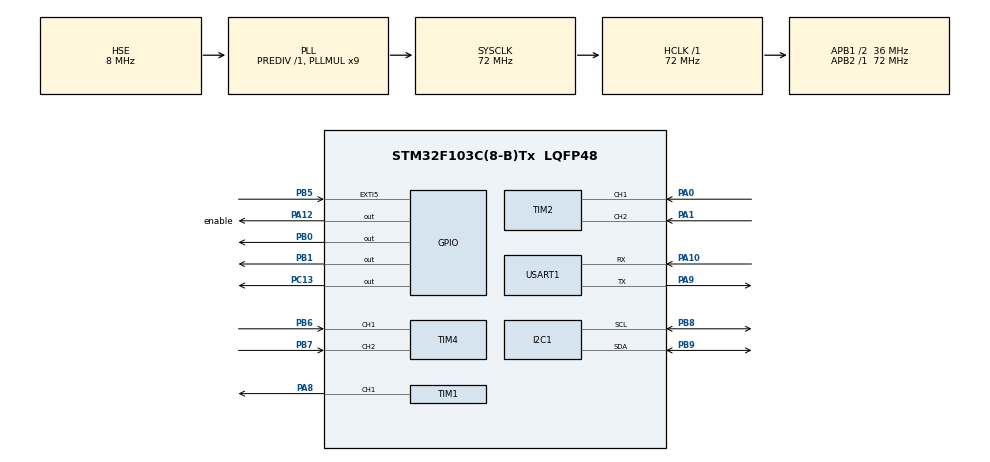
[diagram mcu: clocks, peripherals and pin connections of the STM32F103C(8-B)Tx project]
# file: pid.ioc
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Mcu.Family=STM32F1
Mcu.Name=STM32F103C(8-B)Tx
Mcu.Package=LQFP48
NVIC.EXTI9_5_IRQn=true\:2\:0\:true\:false\:true\:true\:true\:true
NVIC.PriorityGroup=NVIC_PRIORITYGROUP_4
NVIC.TIM3_IRQn=true\:0\:0\:false\:false\:true\:true\:true\:true
NVIC.USART1_IRQn=true\:0\:0\:false\:false\:true\:true\:true\:true
PA0-WKUP.Signal=S_TIM2_CH1_ETR
PA1.Signal=S_TIM2_CH2
PA10.Mode=Asynchronous
PA10.Signal=USART1_RX
PA12.GPIO_Label=enable
PA12.PinState=GPIO_PIN_SET
PA12.Signal=GPIO_Output
PA13.Mode=Serial_Wire
PA13.Signal=SYS_JTMS-SWDIO
PA14.Mode=Serial_Wire
PA14.Signal=SYS_JTCK-SWCLK
PA8.Signal=S_TIM1_CH1
PA9.Mode=Asynchronous
PA9.Signal=USART1_TX
PB0.PinState=GPIO_PIN_RESET
PB0.Signal=GPIO_Output
PB1.PinState=GPIO_PIN_SET
PB1.Signal=GPIO_Output
PB5.GPIO_PuPd=GPIO_PULLUP
PB5.Signal=GPXTI5
PB6.GPIO_PuPd=GPIO_PULLUP
PB6.Signal=S_TIM4_CH1
PB7.GPIO_PuPd=GPIO_PULLUP
PB7.Signal=S_TIM4_CH2
PB8.Mode=I2C
PB8.Signal=I2C1_SCL
PB9.Mode=I2C
PB9.Signal=I2C1_SDA
PC13-TAMPER-RTC.Signal=GPIO_Output
PD0-OSC_IN.Mode=HSE-External-Oscillator
PD0-OSC_IN.Signal=RCC_OSC_IN
PD1-OSC_OUT.Mode=HSE-External-Oscillator
PD1-OSC_OUT.Signal=RCC_OSC_OUT
ProjectManager.HeapSize=0x200
ProjectManager.StackSize=0x400
ProjectManager.TargetToolchain=MDK-ARM V5.32
RCC.AHBFreq_Value=72000000
RCC.APB1CLKDivider=RCC_HCLK_DIV2
RCC.APB1Freq_Value=36000000
RCC.APB1TimFreq_Value=72000000
RCC.APB2Freq_Value=72000000
RCC.APB2TimFreq_Value=72000000
RCC.HCLKFreq_Value=72000000
RCC.PLLMUL=RCC_PLL_MUL9
RCC.PLLSourceVirtual=RCC_PLLSOURCE_HSE
RCC.SYSCLKFreq_VALUE=72000000
RCC.SYSCLKSource=RCC_SYSCLKSOURCE_PLLCLK
RCC.USBFreq_Value=72000000
SH.S_TIM1_CH1.0=TIM1_CH1,PWM Generation1 CH1
SH.S_TIM2_CH1_ETR.0=TIM2_CH1,Encoder_Interface
SH.S_TIM2_CH2.0=TIM2_CH2,Encoder_Interface
SH.S_TIM4_CH1.0=TIM4_CH1,Encoder_Interface
SH.S_TIM4_CH2.0=TIM4_CH2,Encoder_Interface
TIM1.Channel-PWM\ Generation1\ CH1=TIM_CHANNEL_1
TIM1.Period=99
TIM1.Prescaler=71
TIM2.EncoderMode=TIM_ENCODERMODE_TI12
TIM3.Period=99
TIM3.Prescaler=7199
TIM4.EncoderMode=TIM_ENCODERMODE_TI12
USART1.VirtualMode=VM_ASYNC
VP_TIM1_VS_ClockSourceINT.Mode=Internal
VP_TIM3_VS_ClockSourceINT.Mode=Internal
board=custom

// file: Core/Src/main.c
/* USER CODE BEGIN Header */
/**
  ******************************************************************************
  * @file           : main.c
  * @brief          : Main program body
  ******************************************************************************
  * @attention
  *
  * Copyright (c) 2026 STMicroelectronics.
  * All rights reserved.
  *
  * This software is licensed under terms that can be found in the LICENSE file
  * in the root directory of this software component.
  * If no LICENSE file comes with this software, it is provided AS-IS.
  *
  ******************************************************************************
  */
/* USER CODE END Header */
#include "main.h"
#include "i2c.h"
#include "tim.h"
#include "usart.h"
#include "gpio.h"

/* USER CODE BEGIN Includes */
#include <stdio.h>
#define pwm_ 350
#define time_ 8
/* USER CODE END Includes */

/* USER CODE BEGIN PD */
extern int16_t encoder_cnt;
/* USER CODE END PD */

/* USER CODE BEGIN PV */

 float kp_p=-0.05;
 float ki_p=0;
 float kd_p=-0.8;
 float outmax=100;
 float outmin=-100;
 uint16_t count=0;
 float error_p=0;
 float target_p=0;
 float position=0;
 float sum_p=0;
 float error_p0=0;

 uint32_t time=0;
 uint32_t counttime=10;

 float kp_a=0.7;
 float ki_a=0;
 float kd_a=1;
 float target_ang=2010;
 float error0a=0.0f;
 float error0b=0.0f;
 float suma=0.0f;
 float kp=10;
 float ki=1;
 float kd=5;
 float error0=0.0f;
 float current=0.0f;
 float target=0.0f;
 float targetold=0.0f;
 float output=0.0f;
 float error1=0.0f;
 float sum=0.0f;
 float pwm=0.0f;
 int16_t encoder_cnt = 0;
 int16_t encoder_position = 0;
 int16_t encoder_position1 = 0;
 int16_t encoder_position2 = 0;
 int16_t angle=0;
 uint8_t Z_Phase_Trigger=0;
 uint8_t yes=0;
 uint8_t flag=0;

/* USER CODE END PV */

void SystemClock_Config(void);
/* USER CODE BEGIN PFP */
//float pidcon(PID_Handle *pid, float actual);

/* USER CODE END PFP */

/* USER CODE BEGIN 0 */
int fputc(int ch, FILE *f)
{
  // 发�?�一个字节数据到串口USART1
  HAL_UART_Transmit(&huart1, (uint8_t *)&ch, 1, 0xFFFF);  // 0xFFFF是超时时间，避免阻塞
  return ch;
}

/* USER CODE END 0 */

int main(void)
{

  /* MCU Configuration--------------------------------------------------------*/

  /* Reset of all peripherals, Initializes the Flash interface and the Systick. */
  HAL_Init();

  /* Configure the system clock */
  SystemClock_Config();

  /* Initialize all configured peripherals */
  MX_GPIO_Init();
  MX_I2C1_Init();
  MX_TIM1_Init();
  MX_TIM2_Init();
  MX_TIM3_Init();
  MX_USART1_UART_Init();
  MX_TIM4_Init();
  /* USER CODE BEGIN 2 */
 HAL_TIM_PWM_Start(&htim1, TIM_CHANNEL_1);
 HAL_TIM_Encoder_Start(&htim2, TIM_CHANNEL_ALL);
 HAL_TIM_Base_Start_IT(&htim3);
 HAL_TIM_Encoder_Start(&htim4, TIM_CHANNEL_ALL);
  /* USER CODE END 2 */

  /* Infinite loop */
  while (1)
  {

  }
}

void SystemClock_Config(void)
{
  RCC_OscInitTypeDef RCC_OscInitStruct = {0};
  RCC_ClkInitTypeDef RCC_ClkInitStruct = {0};

  /** Initializes the RCC Oscillators according to the specified parameters
  * in the RCC_OscInitTypeDef structure.
  */
  RCC_OscInitStruct.OscillatorType = RCC_OSCILLATORTYPE_HSE;
  RCC_OscInitStruct.HSEState = RCC_HSE_ON;
  RCC_OscInitStruct.HSEPredivValue = RCC_HSE_PREDIV_DIV1;
  RCC_OscInitStruct.HSIState = RCC_HSI_ON;
  RCC_OscInitStruct.PLL.PLLState = RCC_PLL_ON;
  RCC_OscInitStruct.PLL.PLLSource = RCC_PLLSOURCE_HSE;
  RCC_OscInitStruct.PLL.PLLMUL = RCC_PLL_MUL9;
  if (HAL_RCC_OscConfig(&RCC_OscInitStruct) != HAL_OK)
  {
    Error_Handler();
  }

  /** Initializes the CPU, AHB and APB buses clocks
  */
  RCC_ClkInitStruct.ClockType = RCC_CLOCKTYPE_HCLK|RCC_CLOCKTYPE_SYSCLK
                              |RCC_CLOCKTYPE_PCLK1|RCC_CLOCKTYPE_PCLK2;
  RCC_ClkInitStruct.SYSCLKSource = RCC_SYSCLKSOURCE_PLLCLK;
  RCC_ClkInitStruct.AHBCLKDivider = RCC_SYSCLK_DIV1;
  RCC_ClkInitStruct.APB1CLKDivider = RCC_HCLK_DIV2;
  RCC_ClkInitStruct.APB2CLKDivider = RCC_HCLK_DIV1;

  if (HAL_RCC_ClockConfig(&RCC_ClkInitStruct, FLASH_LATENCY_2) != HAL_OK)
  {
    Error_Handler();
  }
}

/* USER CODE BEGIN 4 */
void HAL_GPIO_EXTI_Callback(uint16_t GPIO_Pin)
{
  if(GPIO_Pin == GPIO_PIN_5) // 检测PB8（Z相）中断
  {
    // 消抖（避免机械抖动误触发）

      Z_Phase_Trigger = 1; // 置位零位触发标志
  }
}
void HAL_TIM_PeriodElapsedCallback(TIM_HandleTypeDef *htim){
	if(htim->Instance==TIM3){
		if(yes==1){
			HAL_GPIO_WritePin(GPIOC, GPIO_PIN_13, GPIO_PIN_SET);
			encoder_cnt = (int16_t)__HAL_TIM_GET_COUNTER(&htim2);
			position +=encoder_cnt ;
			__HAL_TIM_SET_COUNTER(&htim2, 0);
			count++;
			if(count>10){
				count=0;
				error_p0 =error_p;
				error_p=position-target_p ;
				sum_p+=error_p ;

			if(sum_p > 200) sum_p = 200;
			if(sum_p < -200) sum_p = -200;

			float delta_ang = kp_p * error_p + ki_p * sum_p + kd_p*(error_p - error_p0);
//			if(delta_ang > 50) delta_ang = 50;
//      if(delta_ang < -50) delta_ang = -50;

			target_ang=delta_ang+2010;

			}
		encoder_position = (int16_t)__HAL_TIM_GET_COUNTER(&htim4);
		angle+=encoder_position;
		__HAL_TIM_SET_COUNTER(&htim4, 0);
//		if(Z_Phase_Trigger==1){
//		angle=0;
//	  Z_Phase_Trigger=0;}

		targetold=target;

		error0b=error0a;
		error0a=target_ang-angle;
		if(error0a<3&&error0a>-3)//小角度
		error0a=0;
		suma+=error0a;
		if(suma > 2000) suma = 2000;
    if(suma < -2000) suma = -2000;
		if(target>0&&targetold<0)
			suma=0;
		if(target<0&&targetold>0)
			suma=0;

		target=kp_a*error0a+ki_a*suma+kd_a*(error0a-error0b);

		//速度环控�?
		//�?要写�?个if使积分项清零，不过在未接入角度传感器以前先不�?
//
		current = (-encoder_cnt*60.0) / (44 * 30.0f * 0.01f);
			if((target>0&&targetold<0)||(target<0&&targetold>0))
				sum=0;//让积分项归零
		error1=error0;
		error0=target-current;
		sum+=error0;
		output=kp*error0+ki*sum+kd*(error0-error1);

		if(sum > 1000) sum = 1000;
    if(sum < -1000) sum = -1000;
		if (output>1000) output = 1000;
		if (output<-1000) output = -1000;
    if (output<0){
			pwm=-output;
		HAL_GPIO_WritePin(GPIOB, GPIO_PIN_0, GPIO_PIN_SET);
    HAL_GPIO_WritePin(GPIOB, GPIO_PIN_1, GPIO_PIN_RESET);
		}else{
			pwm=output;
			HAL_GPIO_WritePin(GPIOB, GPIO_PIN_0, GPIO_PIN_RESET);
      HAL_GPIO_WritePin(GPIOB, GPIO_PIN_1, GPIO_PIN_SET);
		}
   __HAL_TIM_SET_COMPARE(&htim1,TIM_CHANNEL_1 , (uint16_t)pwm);
//
	 printf("%d,%.2f,%.2f,%.2f,%d,%d,%f,%f\r\n",
               encoder_cnt,       // 编码�?10ms计数
               current,           // 当前转�?�（rpm�?
               error0,            // 目标-实际误差
               output,            // PID原始输出
               (uint16_t)output,
		           angle,
							 target,
		           position
		);
		if(error0a>800||error0a<-800){
			HAL_TIM_PWM_Stop(&htim1, TIM_CHANNEL_1);
			HAL_GPIO_WritePin(GPIOC, GPIO_PIN_13, GPIO_PIN_RESET);

		}

	}
		////
	//////
		if(yes==0){
		   if(flag==0){
			 __HAL_TIM_SET_COMPARE(&htim1,TIM_CHANNEL_1 ,pwm_ );

			 flag=1;
			 }
		  encoder_position2=encoder_position1;
		  encoder_position1=encoder_position;
			encoder_position = (int16_t)__HAL_TIM_GET_COUNTER(&htim4);
		  angle+=encoder_position;
		  __HAL_TIM_SET_COUNTER(&htim4, 0);

			 if(angle-target_ang<250&&angle-target_ang>-250){
				 yes=1;
				   __HAL_TIM_SET_COUNTER(&htim2, 0);
					encoder_cnt = 0;
				sum_p = 0.0f;   // 位置环积分项清零（最关键）
				error_p = 0.0f; // 位置环误差清零
				error_p0 = 0.0f;// 位置环上一次误差清零
				count = 0;      // 位置环计数器重置，重新计时100ms
				// 角度环变量（清零积分+误差，解决角度环输出异常）
				suma = 0.0f;    // 角度环积分项清零
				error0a = 0.0f; // 角度环当前误差清零
				error0b = 0.0f; // 角度环上一次误差清零
				// 速度环变量（清零积分+误差，解决速度骤增）
				sum = 0.0f;     // 速度环积分项清零
				error0 = 0.0f;  // 速度环当前误差清零
				error1 = 0.0f;  // 速度环上一次误差清零
				// 转向目标变量（清零，保证积分清零逻辑正常触发）
				targetold = 0.0f;
				target = 0.0f;  // 速度环目标转速清零，从0开始加速

		 }
			 if(angle+target_ang<250&&angle+target_ang>-250){
				 yes=1;
				angle=target_ang+angle+target_ang ;
				 __HAL_TIM_SET_COUNTER(&htim2, 0);
				encoder_cnt = 0;
				sum_p = 0.0f;
				error_p = 0.0f;
				error_p0 = 0.0f;
				count = 0;
				suma = 0.0f;
				error0a = 0.0f;
				error0b = 0.0f;
				sum = 0.0f;
				error0 = 0.0f;
				error1 = 0.0f;
				targetold = 0.0f;
				target = 0.0f;

		 }

		 //
		 if(flag==1){
			 counttime--;
			 if(counttime==0){
				 counttime=time_;
				 flag=2;}}
		 //
		 if(flag==2){

			 __HAL_TIM_SET_COMPARE(&htim1,TIM_CHANNEL_1 ,0);
		 if(encoder_position2<0&&encoder_position>0){
			 flag=4;
		 }
		if(encoder_position2>0&&encoder_position<0){
			flag=3;
		}

		 }
		 //
		 if(flag==3){
			 HAL_GPIO_WritePin(GPIOB, GPIO_PIN_0, GPIO_PIN_SET);
       HAL_GPIO_WritePin(GPIOB, GPIO_PIN_1, GPIO_PIN_RESET);
			 __HAL_TIM_SET_COMPARE(&htim1,TIM_CHANNEL_1 ,pwm_);
			 flag=31;
		 }
		 if(flag==31){
			 counttime--;
			 if(counttime==0){
				 counttime=time_ ;
				 flag=2;}}
			 if(flag==32){

			 HAL_GPIO_WritePin(GPIOB, GPIO_PIN_0, GPIO_PIN_RESET);
       HAL_GPIO_WritePin(GPIOB, GPIO_PIN_1, GPIO_PIN_SET);
			 __HAL_TIM_SET_COMPARE(&htim1,TIM_CHANNEL_1 ,pwm_);
			 flag=33;
			 }
		   if(flag==33){
			 counttime--;
			 if(counttime==0){
				 counttime=time_;
				 flag=2;}}
		 if(flag==4){
			  HAL_GPIO_WritePin(GPIOB, GPIO_PIN_0, GPIO_PIN_RESET);
       HAL_GPIO_WritePin(GPIOB, GPIO_PIN_1, GPIO_PIN_SET);
			 __HAL_TIM_SET_COMPARE(&htim1,TIM_CHANNEL_1 ,pwm_);
		   flag=41;
		 }
		 if(flag==41){
			  counttime--;
			 if(counttime==0){
				 counttime=time_;
				 flag=2;}}
		 if(flag==42){
			 HAL_GPIO_WritePin(GPIOB, GPIO_PIN_0, GPIO_PIN_SET);
       HAL_GPIO_WritePin(GPIOB, GPIO_PIN_1, GPIO_PIN_RESET);
			 __HAL_TIM_SET_COMPARE(&htim1,TIM_CHANNEL_1 ,pwm_);
			 flag=43;}
		 if(flag==43){
			  counttime--;
			 if(counttime==0){
				 counttime=time_;
				 flag=2;}}
		 printf("%d,%.2f,%.2f,%.2f,%d,%d,%f,%f\r\n",
               encoder_cnt,       // 编码�?10ms计数
               current,           // 当前转�?�（rpm�?
               error0,            // 目标-实际误差
               output,            // PID原始输出
               (uint16_t)output,
		           angle,
							 target,
		           position
		);

	 }

		}

}

/* USER CODE END 4 */

void Error_Handler(void)
{
  __disable_irq();
  while (1)
  {
  }
}
